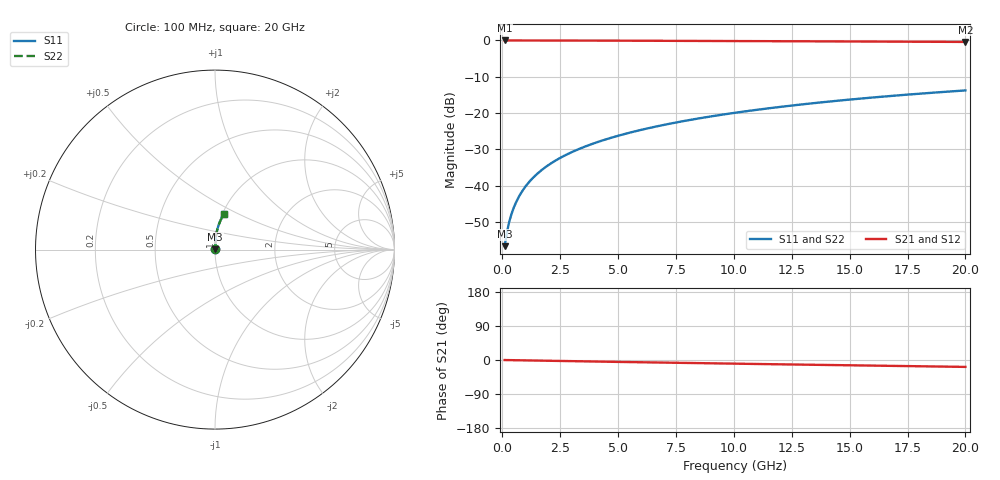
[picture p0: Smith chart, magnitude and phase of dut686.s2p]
! Touchstone file exported from HFSS 2024.1.0
!  File:  C:/UserFiles/LocalFiles/RDL_TSV_Batchsim/temp_RDL_bottom_686_1779786813.aedt
!  Generated:  05:16:20 PM May 26, 2026
!  Design:  RDL_bottom
!  Project:  temp_RDL_bottom_686_1779786813
!  Setup:  Setup1
!  Solution:  Sweep
! Variables:
!  dtsv = 10.80580581um
!  hbump = 3um
!  htsv = 86.38um
!  ldown = 227.24um
!  lrdl = 100um
!  p = 40
!  p1 = 47.76um
!  rhole = 1um
!  t = 450um
!  tdown = 4.82um
!  trdl = 3.915915916um
!  wdown = 18.09um
!  wrdl = 20um
# GHz S MA R 50.000000
! Terminal data exported
! Port[1] = RDL1_T1
! Port[2] = RDL1_T2
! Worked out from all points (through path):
!   200 points, 100 MHz to 20 GHz, reference 50 ohm
!   highest |S21| = -0.01 dB at 100 MHz (marker M1); lowest = -0.4 dB at 20 GHz (marker M2)
!   group delay of S21, straight-line fit = 2.51 ps
!   lowest |S11| = -56.6 dB at 100 MHz (marker M3), VSWR 1.00, Z = 50.1 + j0.103 ohm
!   |S11| at or under -10 dB: start of sweep to end of sweep
!   |S22| runs from -56.6 to -13.8 dB; largest |S21 - S12| = 2.2e-15
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0.1  0.001477 44.0  0.9989 -0.1  0.9989 -0.1  0.001477 44.0
! Gamma 0 0 0 0
! Port Impedance 50 0 50 0
0.2  0.002303 61.2  0.9989 -0.2  0.9989 -0.2  0.002303 61.2
0.3  0.003199 68.9  0.9988 -0.3  0.9988 -0.3  0.003199 68.9
0.4  0.004115 73.3  0.9988 -0.4  0.9988 -0.4  0.004115 73.3
0.5  0.005042 76.2  0.9987 -0.5  0.9987 -0.5  0.005042 76.2
0.6  0.005978 78.2  0.9987 -0.6  0.9987 -0.6  0.005978 78.2
0.8  0.007865 80.8  0.9986 -0.8  0.9986 -0.8  0.007865 80.8
1.1  0.01072 83.1  0.9984 -1.1  0.9984 -1.1  0.01072 83.1
1.5  0.01455 84.6  0.998 -1.5  0.998 -1.5  0.01455 84.6
1.8  0.01744 85.3  0.9978 -1.9  0.9978 -1.9  0.01744 85.3
2.1  0.02033 85.8  0.9974 -2.2  0.9974 -2.2  0.02033 85.8
2.7  0.02614 86.4  0.9966 -2.8  0.9966 -2.8  0.02614 86.4
3.5  0.03394 86.7  0.9953 -3.6  0.9953 -3.6  0.03394 86.7
4.2  0.04082 86.8  0.994 -4.3  0.994 -4.3  0.04082 86.8
5  0.04878 86.8  0.9924 -5.0  0.9924 -5.0  0.04878 86.8
5.9  0.05785 86.6  0.9904 -5.9  0.9904 -5.9  0.05785 86.6
6.8  0.06704 86.3  0.9883 -6.7  0.9883 -6.7  0.06704 86.3
8.4  0.08366 85.5  0.9844 -8.2  0.9844 -8.2  0.08366 85.5
10.1  0.1016 84.3  0.9801 -9.7  0.9801 -9.7  0.1016 84.3
13.4  0.1366 81.7  0.9716 -12.6  0.9716 -12.6  0.1366 81.7
16.7  0.1714 78.8  0.9628 -15.4  0.9628 -15.4  0.1714 78.8
20  0.2052 75.8  0.9536 -18.2  0.9536 -18.2  0.2052 75.8
